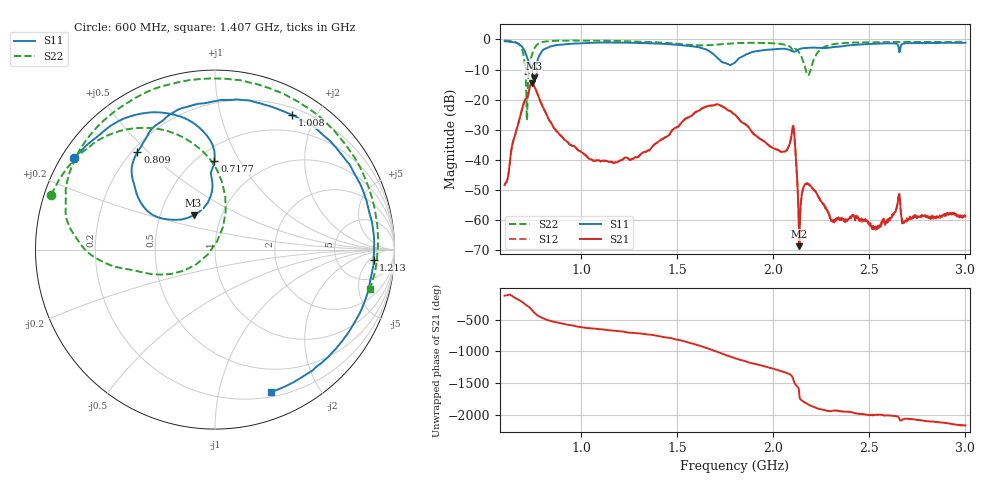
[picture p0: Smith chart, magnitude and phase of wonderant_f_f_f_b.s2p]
#  HZ  S  RI  R  50.00
! Rohde & Schwarz ZVB8 2Ports - Version 2.81 - 1145.1010k08 SN: 100113
! Date: 2016-05-17 22:38:19
! Measurements: S11 S21 S12 S22
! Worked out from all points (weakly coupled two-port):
!   1000 points, 600 MHz to 3 GHz, reference 50 ohm
!   highest |S21| = -14.62 dB at 741.7 MHz (marker M1); lowest = -68.7 dB at 2.135 GHz (marker M2)
!   lowest |S11| = -13.0 dB at 751.4 MHz (marker M3), VSWR 1.58, Z = 36.8 + j14.8 ohm
!   |S11| at or under -10 dB: 739.8 MHz to 762 MHz (22.25 MHz wide, 2.96 % of centre)
!   |S22| runs from -26.9 to -0.3 dB; largest |S21 - S12| = 0.0034
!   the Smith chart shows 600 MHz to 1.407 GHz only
!   S11 on the Smith chart (normalised r, x): 600 MHz: 0.04, +0.30; 717.7 MHz: 0.60, +0.79; 809 MHz: 0.22, +0.46; 1.008 GHz: 0.29, +1.69; 1.213 GHz: 13, -7; 1.407 GHz: 0.25, -1.44
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6e8  -0.784 0.5079  -0.00222 -0.00311  -0.00217 -0.0032  -0.9113 0.3044
6.840841e8  -0.2461 0.7555  -0.0492 0.0282  -0.0492 0.0279  -0.3535 0.677
7.177177e8  -0.00366 0.494  0.0297 0.1056  0.0302 0.1056  -0.0415 -0.0285
7.417417e8  -0.0266 0.2908  0.184 0.0263  0.1835 0.0259  -0.5392 -0.0994
7.513514e8  -0.1197 0.1905  0.1566 -0.0692  0.1576 -0.0683  -0.6634 -0.0474
8.09009e8  -0.4318 0.5436  -0.043 -0.0492  -0.0429 -0.0492  -0.8033 0.4478
1.001201e9  0.3985 0.7638  -0.00221 0.0132  -0.00222 0.0132  -0.1511 0.943
1.008408e9  0.4288 0.7502  -0.0013 0.0128  -0.00128 0.0128  -0.1232 0.9461
1.212613e9  0.8832 -0.0593  0.00845 0.00533  0.00844 0.00533  0.6586 0.6679
1.4e9  0.3504 -0.7798  0.0153 -0.0126  0.0154 -0.0126  0.8746 -0.1851
1.407207e9  0.3146 -0.7929  0.0151 -0.0142  0.0152 -0.0142  0.8625 -0.2214
1.618619e9  -0.6029 -0.4094  -0.0655 0.0162  -0.0655 0.016  0.0987 -0.7861
1.801201e9  -0.416 -0.0422  0.0486 -0.0273  0.0487 -0.0269  -0.6744 -0.5394
1.916517e9  -0.4989 0.4022  -0.0144 -0.0194  -0.0145 -0.0196  -0.8773 -0.00407
2.101502e9  0.4003 0.4866  0.0339 0.0118  0.0338 0.0117  -0.255 0.5851
2.135135e9  0.5263 0.4483  -0.000119 0.000347  -6.71e-05 0.000395  -0.0995 0.5862
2.2e9  0.7281 0.0796  0.00166 -0.00308  0.00166 -0.00304  -0.3028 0.2051
2.360961e9  0.4125 -0.6503  -0.000809 -0.000615  -0.000833 -0.000545  -0.00129 0.8665
2.601201e9  -0.5998 -0.6188  -0.000926 0.000462  -0.000926 0.000465  0.796 0.4286
2.649249e9  -0.723 -0.3467  -0.00146 0.00156  -0.00144 0.00153  0.8658 0.2704
2.68048e9  -0.7367 -0.4354  -0.000126 0.000885  -0.000102 0.000925  0.8938 0.1623
3e9  -0.6535 0.587  0.00114 -8.84e-05  0.00116 -0.00016  0.5385 -0.7381
